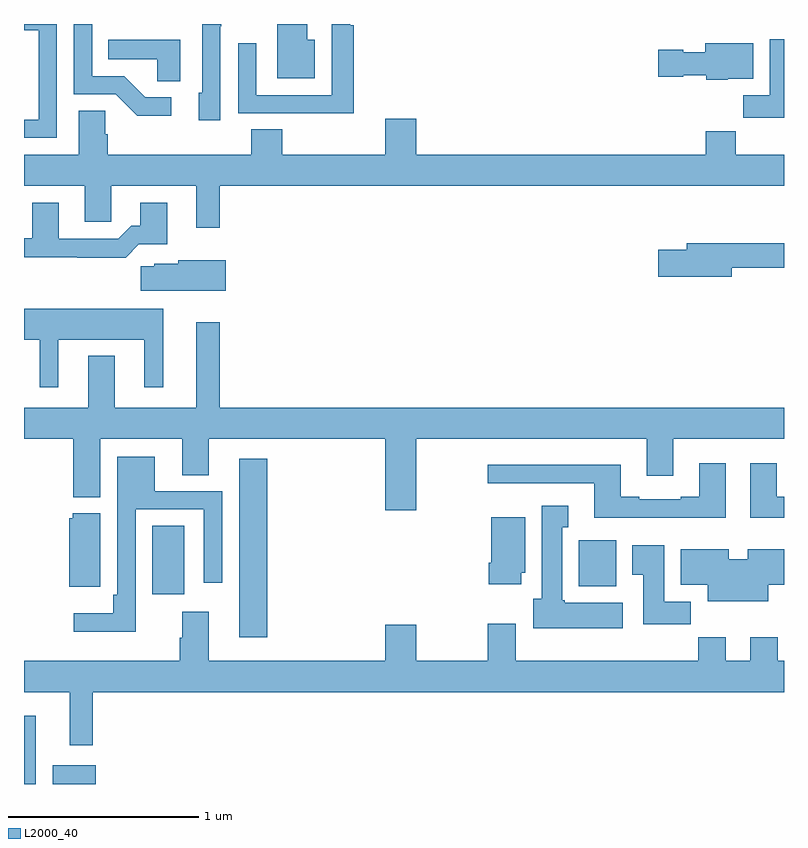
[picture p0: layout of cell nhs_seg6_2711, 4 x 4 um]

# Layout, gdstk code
import gdstk
lib = gdstk.Library(unit=1e-6, precision=1e-09)
def R(c, l, rs):  # rectangles x0, y0, x1, y1
    for r in rs: c.add(gdstk.rectangle(r[:2], r[2:], *l))
def P(c, l, *ps):  # polygons
    for p in ps: c.add(gdstk.Polygon(p, *l))
L2000_40 = (2000, 40)

nhs_seg6_2711 = lib.new_cell('nhs_seg6_2711')
R(nhs_seg6_2711, L2000_40, [(271,965.5,271.063,965.86), (271.151,965.5,271.378,965.599), (272.132,966.273,272.279,967.213), (271.676,966.498,271.843,966.86), (273.92,966.542,274.117,966.784)])
P(nhs_seg6_2711, L2000_40, [(272.034,969.487),(272.037,969.487),(272.037,969.5),(271.938,969.5),(271.938,969.138),(271.919,969.138),(271.919,968.994),(272.034,968.994)],
  [(271.173,969.5),(271,969.5),(271,969.466),(271.077,969.466),(271.077,968.997),(271,968.997),(271,968.901),(271.173,968.901)],
  [(272.735,969.494),(272.717,969.494),(272.717,969.5),(272.619,969.5),(272.619,969.126),(272.223,969.126),(272.223,969.4),(272.127,969.4),(272.127,969.03),(272.443,969.03),(272.443,969.029),(272.735,969.029)],
  [(271.774,969.114),(271.639,969.114),(271.528,969.225),(271.359,969.225),(271.359,969.5),(271.263,969.5),(271.263,969.129),(271.482,969.129),(271.595,969.017),(271.774,969.017)],
  [(272.53,969.418),(272.491,969.418),(272.491,969.5),(272.333,969.5),(272.333,969.215),(272.53,969.215)],
  [(275,969.421),(274.925,969.421),(274.925,969.124),(274.786,969.124),(274.786,969.006),(275,969.006)],
  [(271.822,969.418),(271.444,969.418),(271.444,969.314),(271.701,969.314),(271.701,969.199),(271.822,969.199)],
  [(274.704,969.212),(274.837,969.212),(274.837,969.4),(274.586,969.4),(274.586,969.352),(274.47,969.352),(274.47,969.365),(274.338,969.365),(274.338,969.223),(274.47,969.223),(274.47,969.23),(274.59,969.23),(274.59,969.206),(274.704,969.206)],
  [(272.029,968.648),(275,968.648),(275,968.812),(274.745,968.812),(274.745,968.936),(274.589,968.936),(274.589,968.812),(273.064,968.812),(273.064,969.001),(272.9,969.001),(272.9,968.812),(272.36,968.812),(272.36,968.945),(272.195,968.945),(272.195,968.812),(271.442,968.812),(271.442,968.921),(271.428,968.921),(271.428,969.044),(271.289,969.044),(271.289,968.812),(271,968.812),(271,968.648),(271.319,968.648),(271.319,968.458),(271.458,968.458),(271.458,968.648),(271.907,968.648),(271.907,968.427),(272.029,968.427)],
  [(271.605,968.34),(271.753,968.34),(271.753,968.56),(271.613,968.56),(271.613,968.437),(271.564,968.437),(271.497,968.37),(271.183,968.37),(271.183,968.56),(271.043,968.56),(271.043,968.373),(271,968.373),(271,968.272),(271.279,968.272),(271.279,968.27),(271.535,968.27)],
  [(274.726,968.218),(275,968.218),(275,968.347),(274.487,968.347),(274.487,968.313),(274.338,968.313),(274.338,968.171),(274.726,968.171)],
  [(272.062,968.257),(271.812,968.257),(271.812,968.239),(271.686,968.239),(271.686,968.225),(271.614,968.225),(271.614,968.096),(272.062,968.096)],
  [(271.18,967.838),(271.634,967.838),(271.634,967.587),(271.732,967.587),(271.732,968.002),(271,968.002),(271,967.838),(271.082,967.838),(271.082,967.587),(271.18,967.587)],
  [(273.064,967.316),(274.277,967.316),(274.277,967.122),(274.417,967.122),(274.417,967.316),(275,967.316),(275,967.48),(272.029,967.48),(272.029,967.93),(271.907,967.93),(271.907,967.48),(271.477,967.48),(271.477,967.753),(271.337,967.753),(271.337,967.48),(271,967.48),(271,967.316),(271.259,967.316),(271.259,967.01),(271.402,967.01),(271.402,967.316),(271.832,967.316),(271.832,967.126),(271.972,967.126),(271.972,967.316),(272.9,967.316),(272.9,966.942),(273.064,966.942)],
  [(271.587,966.945),(271.947,966.945),(271.947,966.558),(272.043,966.558),(272.043,967.041),(271.687,967.041),(271.687,967.222),(271.491,967.222),(271.491,966.496),(271.471,966.496),(271.471,966.4),(271.263,966.4),(271.263,966.302),(271.587,966.302)],
  [(274.693,967.189),(274.553,967.189),(274.553,967.012),(274.457,967.012),(274.457,966.999),(274.237,966.999),(274.237,967.012),(274.141,967.012),(274.141,967.18),(273.441,967.18),(273.441,967.083),(274.001,967.083),(274.001,966.902),(274.693,966.902)],
  [(275,967.012),(274.963,967.012),(274.963,967.189),(274.823,967.189),(274.823,966.902),(275,966.902)],
  [(274.15,966.454),(273.846,966.454),(273.846,966.468),(273.832,966.468),(273.832,966.851),(273.865,966.851),(273.865,966.964),(273.725,966.964),(273.725,966.474),(273.68,966.474),(273.68,966.32),(274.15,966.32)],
  [(271.402,966.925),(271.257,966.925),(271.257,966.9),(271.238,966.9),(271.238,966.539),(271.402,966.539)],
  [(273.616,966.612),(273.637,966.612),(273.637,966.904),(273.458,966.904),(273.458,966.664),(273.446,966.664),(273.446,966.552),(273.616,966.552)],
  [(274.508,966.46),(274.369,966.46),(274.369,966.757),(274.202,966.757),(274.202,966.601),(274.259,966.601),(274.259,966.342),(274.508,966.342)],
  [(274.918,966.548),(275,966.548),(275,966.736),(274.808,966.736),(274.808,966.682),(274.708,966.682),(274.708,966.736),(274.457,966.736),(274.457,966.548),(274.598,966.548),(274.598,966.461),(274.918,966.461)],
  [(271.363,965.984),(275,965.984),(275,966.148),(274.967,966.148),(274.967,966.272),(274.823,966.272),(274.823,966.148),(274.693,966.148),(274.693,966.272),(274.549,966.272),(274.549,966.148),(273.589,966.148),(273.589,966.343),(273.442,966.343),(273.442,966.148),(273.064,966.148),(273.064,966.337),(272.9,966.337),(272.9,966.148),(271.972,966.148),(271.972,966.406),(271.832,966.406),(271.832,966.269),(271.82,966.269),(271.82,966.148),(271,966.148),(271,965.984),(271.241,965.984),(271.241,965.703),(271.363,965.703)])

lib.write_gds('nhs_seg6_2711.gds')
